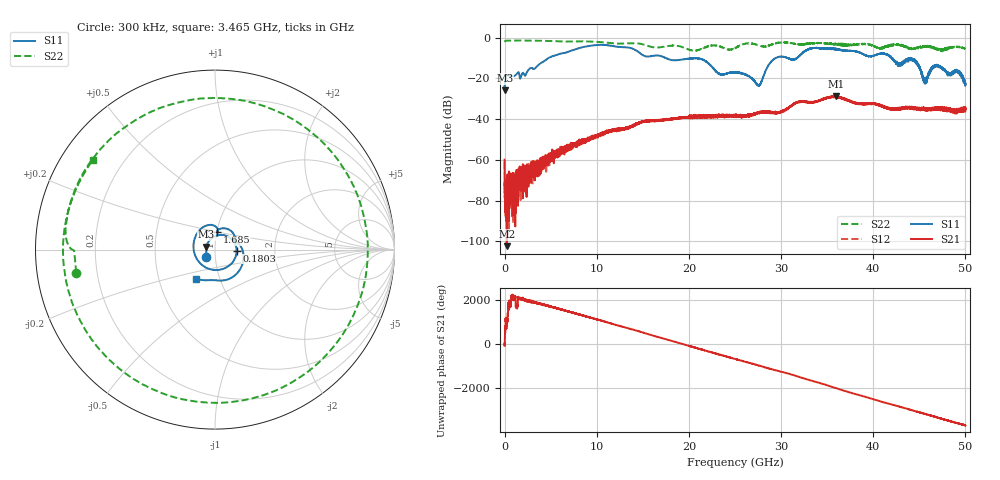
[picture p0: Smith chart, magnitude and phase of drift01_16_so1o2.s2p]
!Created with skrf (http://scikit-rf.org).
# Hz S RI R 50.0
!freq ReS11 ImS11 ReS21 ImS21 ReS12 ImS12 ReS22 ImS22
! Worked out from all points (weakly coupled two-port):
!   10001 points, 300 kHz to 50 GHz, reference 50 ohm
!   highest |S21| = -28.73 dB at 35.94 GHz (marker M1); lowest = -102.3 dB at 230.3 MHz (marker M2)
!   lowest |S11| = -25.8 dB at 5.3 MHz (marker M3), VSWR 1.11, Z = 45.3 + j1.41 ohm
!   |S11| at or under -10 dB: start of sweep to 4.765 GHz; 20.7 GHz to 29.41 GHz (8.715 GHz wide, 34.8 % of centre); 44.04 GHz to end of sweep (the widest 3 of 13)
!   |S22| runs from -6.7 to -1.4 dB; largest |S21 - S12| = 0.0035
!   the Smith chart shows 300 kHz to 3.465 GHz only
!   S11 on the Smith chart (normalised r, x): 300 kHz: 0.91, -0.08; 180.3 MHz: 1.27, -0.01; 1.685 GHz: 1.00, +0.20; 3.465 GHz: 0.77, -0.26
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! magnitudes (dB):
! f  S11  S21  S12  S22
! 300 kHz  -23.8  -59.9  -61.0  -2.1
! 5.3 MHz  -25.8  -74.1  -74.8  -2.1
! 180.3 MHz  -18.4  -72.9  -74.1  -1.4
! 230.3 MHz  -18.3  -102.3  -78.8  -1.4
! 1.685 GHz  -20.2  -70.8  -67.9  -1.4
! 3.465 GHz  -14.3  -64.2  -65.3  -1.5
! 8.335 GHz  -4.8  -50.5  -50.3  -1.8
! 16.67 GHz  -8.8  -40.7  -40.6  -4.8
! 21.15 GHz  -10.3  -39.2  -38.8  -5.9
! 25 GHz  -17.0  -38.6  -38.5  -5.1
! 27.59 GHz  -23.5  -36.6  -36.8  -3.9
! 29.28 GHz  -10.4  -36.9  -36.6  -2.9
! 31.45 GHz  -10.8  -32.6  -32.3  -3.0
! 33.34 GHz  -5.2  -31.6  -31.6  -2.6
! 35.94 GHz  -5.5  -28.7  -29.1  -3.1
! 41.67 GHz  -8.9  -35.0  -34.7  -4.2
! 42.74 GHz  -12.8  -35.1  -34.9  -3.3
! 44.4 GHz  -11.2  -34.5  -34.7  -5.3
! 45.63 GHz  -22.3  -35.2  -35.0  -4.3
! 46.9 GHz  -13.4  -35.1  -34.7  -5.3
! 49.25 GHz  -16.6  -36.4  -35.7  -4.6
! 50 GHz  -22.3  -35.1  -34.8  -5.4
